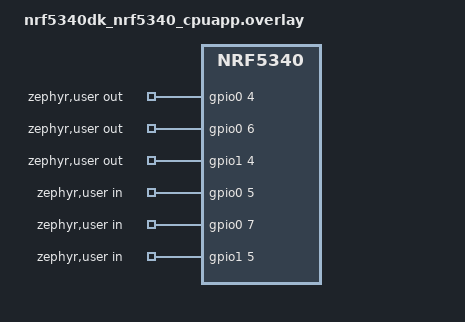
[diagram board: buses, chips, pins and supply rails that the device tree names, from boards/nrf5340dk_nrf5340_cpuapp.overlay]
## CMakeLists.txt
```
#
# Copyright (c) 2025 Nordic Semiconductor ASA
#
# SPDX-License-Identifier: LicenseRef-Nordic-5-Clause
#

cmake_minimum_required(VERSION 3.20.0)

find_package(Zephyr REQUIRED HINTS $ENV{ZEPHYR_BASE})
project(gpio_event)

target_sources(app PRIVATE src/main.c)
```

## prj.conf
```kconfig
CONFIG_GPIO=y
CONFIG_ZTEST=y
CONFIG_LOG=y
CONFIG_LOG_MODE_IMMEDIATE=y
```

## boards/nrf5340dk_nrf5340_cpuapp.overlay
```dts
/*
 * Copyright (c) 2026 Nordic Semiconductor ASA
 *
 * SPDX-License-Identifier: LicenseRef-Nordic-5-Clause
 */

/ {
	/* Test requirements:
	 * out-gpios[0] wire connected with in-gpios[0],
	 * out-gpios[1] wire connected with in-gpios[1],
	 * etc.
	 * Output-input GPIO pair must have identical active level flag.
	 */
	zephyr,user {
		out-gpios = <&gpio0 4 GPIO_ACTIVE_HIGH>, <&gpio0 6 GPIO_ACTIVE_HIGH>,
			    <&gpio1 4 GPIO_ACTIVE_HIGH>;
		in-gpios = <&gpio0 5 GPIO_ACTIVE_HIGH>, <&gpio0 7 GPIO_ACTIVE_HIGH>,
			   <&gpio1 5 GPIO_ACTIVE_HIGH>;
	};
};

&gpio0 {
	status = "okay";
};

&gpio1 {
	status = "okay";
};

&gpiote0 {
	status = "okay";
};
```

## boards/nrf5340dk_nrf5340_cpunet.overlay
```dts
/*
 * Copyright (c) 2026 Nordic Semiconductor ASA
 *
 * SPDX-License-Identifier: LicenseRef-Nordic-5-Clause
 */

/ {
	/* Test requirements:
	 * out-gpios[0] wire connected with in-gpios[0],
	 * out-gpios[1] wire connected with in-gpios[1],
	 * etc.
	 * Output-input GPIO pair must have identical active level flag.
	 */
	zephyr,user {
		out-gpios = <&gpio0 4 GPIO_ACTIVE_HIGH>, <&gpio0 6 GPIO_ACTIVE_HIGH>,
			    <&gpio1 4 GPIO_ACTIVE_HIGH>;
		in-gpios = <&gpio0 5 GPIO_ACTIVE_HIGH>, <&gpio0 7 GPIO_ACTIVE_HIGH>,
			   <&gpio1 5 GPIO_ACTIVE_HIGH>;
	};
};

&gpio0 {
	status = "okay";
};

&gpio1 {
	status = "okay";
};

&gpiote {
	status = "okay";
};
```

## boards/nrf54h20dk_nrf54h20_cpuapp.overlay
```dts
/*
 * Copyright (c) 2026 Nordic Semiconductor ASA
 *
 * SPDX-License-Identifier: LicenseRef-Nordic-5-Clause
 */

/ {
	/* Test requirements:
	 * out-gpios[0] wire connected with in-gpios[0],
	 * out-gpios[1] wire connected with in-gpios[1],
	 * etc.
	 * Output-input GPIO pair must have identical active level flag.
	 */
	zephyr,user {
		out-gpios = <&gpio0 0 GPIO_ACTIVE_HIGH>, <&gpio1 2 GPIO_ACTIVE_HIGH>,
			    <&gpio2 10 GPIO_ACTIVE_HIGH>;
		in-gpios = <&gpio0 1 GPIO_ACTIVE_HIGH>, <&gpio1 3 GPIO_ACTIVE_HIGH>,
			   <&gpio2 11 GPIO_ACTIVE_HIGH>;
	};
};

&gpio0 {
	status = "okay";
};

&gpio1 {
	status = "okay";
};

&gpio2 {
	status = "okay";
};

/* Enable interrupt from GPIO P0, P1, P2, P9 events. */
&gpiote130 {
	status = "okay";
};
```

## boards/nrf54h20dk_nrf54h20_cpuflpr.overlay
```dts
/*
 * Copyright (c) 2025 Nordic Semiconductor ASA
 *
 * SPDX-License-Identifier: LicenseRef-Nordic-5-Clause
 */

/ {
	/* Test requirements:
	 * out-gpios[0] wire connected with in-gpios[0],
	 * etc.
	 * Output-input GPIO pair must have identical active level flag.
	 */
	zephyr,user {
		out-gpios = <&gpio0 6 GPIO_ACTIVE_HIGH>;
		in-gpios = <&gpio0 7 GPIO_ACTIVE_HIGH>;
	};
};

&gpiote130 {
	status = "okay";
	interrupts = <104 NRF_DEFAULT_IRQ_PRIORITY>;
};

&gpio0 {
	status = "okay";
};

&cpuflpr_code_partition {
	reg = <0xf4000 DT_SIZE_K(64)>;
};
```

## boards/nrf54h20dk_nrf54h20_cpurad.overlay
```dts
/*
 * Copyright (c) 2026 Nordic Semiconductor ASA
 *
 * SPDX-License-Identifier: LicenseRef-Nordic-5-Clause
 */

/* Test requirements:
 * out-gpios[0] wire connected with in-gpios[0],
 * out-gpios[1] wire connected with in-gpios[1],
 * etc.
 * Output-input GPIO pair must have identical active level flag.
 *
 * Different GPIOTE channels used by loopbacks.
 * P1.04 - GPIOTE channel 0
 * P1.05 - GPIOTE channel 1
 * P1.06 - GPIOTE channel 2
 * P1.07 - GPIOTE channel 3
 * P1.08 - GPIOTE channel 4
 * P1.09 - GPIOTE channel 5
 * P1.10 - GPIOTE channel 6
 * P1.11 - GPIOTE channel 7
 * P2.00 - GPIOTE channel 0
 * P2.01 - GPIOTE channel 1
 * P2.02 - GPIOTE channel 2
 * P2.03 - GPIOTE channel 3
 * P2.04 - GPIOTE channel 4
 * P2.05 - GPIOTE channel 5
 * P2.06 - GPIOTE channel 6
 * P2.07 - GPIOTE channel 7
 * P2.08 - GPIOTE channel 0
 * P2.09 - GPIOTE channel 1
 * P2.10 - GPIOTE channel 2
 * P2.11 - GPIOTE channel 3
 */

/ {
	zephyr,user {
		out-gpios = <&gpio1 4 GPIO_ACTIVE_HIGH>, <&gpio1 6 GPIO_ACTIVE_HIGH>;
		in-gpios = <&gpio1 5 GPIO_ACTIVE_HIGH>, <&gpio2 8 GPIO_ACTIVE_HIGH>;
	};
};

/* Workaround, FUNC value is not important.
 * UICR/priphconf generator must parse pincontrol.
 * Otherwise, CTRLSEL is not set for input pin.
 */
&pinctrl {
	gpiote0_default_alt: gpiote0_default_alt {
		group1 {
			psels = <NRF_PSEL(SPIM_SCK, 1, 5)>, <NRF_PSEL(SPIM_MISO, 2, 8)>;
		};
	};
};

&gpio1 {
	status = "okay";
	gpiote-instance = <&gpiote0>;
};

&gpio2 {
	status = "okay";
	gpiote-instance = <&gpiote0>;
};

/* Enable interrupt from GPIO P1 (pins 4-11) and P2 (pins 0-11) events. */
&gpiote0 {
	status = "okay";
	pinctrl-0 = <&gpiote0_default_alt>;
	pinctrl-names = "default";
};
```

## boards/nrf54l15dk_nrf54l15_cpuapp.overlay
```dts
/*
 * Copyright (c) 2025 Nordic Semiconductor ASA
 *
 * SPDX-License-Identifier: LicenseRef-Nordic-5-Clause
 */

/ {
	/* Test requirements:
	 * out-gpios[0] wire connected with in-gpios[0],
	 * out-gpios[1] wire connected with in-gpios[1],
	 * etc.
	 * Output-input GPIO pair must have identical active level flag.
	 */
	zephyr,user {
		/* Use of P0.04 as both 'in' and 'out' is an ugly hack resulting from lack of
		 * loopback in CI test setup. This somehow works but shall not be followed.
		 */
		out-gpios = <&gpio0 4 GPIO_ACTIVE_HIGH>, <&gpio1 8 GPIO_ACTIVE_HIGH>;
		in-gpios = <&gpio0 4 GPIO_ACTIVE_HIGH>, <&gpio1 9 GPIO_ACTIVE_HIGH>;
	};
};

&gpio0 {
	status = "okay";
};

&gpio1 {
	status = "okay";
};

/* Enable interrupt from GPIO P1 events. */
&gpiote20 {
	status = "okay";
};

/* Enable interrupt from GPIO P0 events. */
&gpiote30 {
	status = "okay";
};

/* No support for port events on GPIO P2. */
```

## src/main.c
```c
/*
 * Copyright (c) 2025 Nordic Semiconductor ASA
 *
 * SPDX-License-Identifier: LicenseRef-Nordic-5-Clause
 */

#include <zephyr/logging/log.h>
LOG_MODULE_REGISTER(gpio_event, LOG_LEVEL_INF);

#include <zephyr/kernel.h>
#include <zephyr/drivers/gpio.h>
#include <zephyr/ztest.h>

#if !DT_NODE_HAS_PROP(DT_PATH(zephyr_user), out_gpios)
#error "Unsupported board: out_gpios are not defined"
#endif

#if !DT_NODE_HAS_PROP(DT_PATH(zephyr_user), in_gpios)
#error "Unsupported board: in_gpios are not defined"
#endif

const struct gpio_dt_spec out_pins[] = {
	DT_FOREACH_PROP_ELEM_SEP(DT_PATH(zephyr_user), out_gpios, GPIO_DT_SPEC_GET_BY_IDX, (,))
};
BUILD_ASSERT(ARRAY_SIZE(out_pins) > 0, "missing out pins");
const uint8_t npins = ARRAY_SIZE(out_pins);

const struct gpio_dt_spec in_pins[] = {
	DT_FOREACH_PROP_ELEM_SEP(DT_PATH(zephyr_user), in_gpios, GPIO_DT_SPEC_GET_BY_IDX, (,))
};
BUILD_ASSERT(ARRAY_SIZE(in_pins) == ARRAY_SIZE(out_pins), "different number of in and out pins");

static struct k_sem gpio_event;
static struct gpio_callback cb_data;

/* ISR for Port event. */
static void gpio_isr(const struct device *dev, struct gpio_callback *cb, uint32_t pins)
{
	uint8_t i;

	for (i = 0; i < npins; i++) {
		if (pins & BIT(in_pins[i].pin)) {
			TC_PRINT("Event at %s, pin %d\n", dev->name, in_pins[i].pin);
			k_sem_give(&gpio_event);
		}
	}
}

static bool generic_edge_test(int initial_value)
{
	uint8_t i;
	int rc;
	int opposite_value;
	bool test_failed = false;

	for (i = 0; i < npins; i++) {
		TC_PRINT("[%d]: Port %s, pin %d\n",
			i, out_pins[i].port->name, out_pins[i].pin);
		/* Reset semaphore */
		k_sem_reset(&gpio_event);

		/* Set OUT to physical 'initial_value'
		 * Writing value 0 to the pin will set it to a low physical level.
		 * Writing any value other than 0 will set it to a high physical level.
		 */
		rc = gpio_pin_set_raw(out_pins[i].port, out_pins[i].pin, initial_value);
		zexpect_equal(rc, 0, "[%d]: Port %s, pin %d, set %d failed",
			i, out_pins[i].port->name, out_pins[i].pin, initial_value);

		/* Configure IN event (edge) */
		switch (initial_value) {
		case 0:
			rc = gpio_pin_interrupt_configure_dt(&in_pins[i],
				GPIO_INT_EDGE_RISING);
			break;
		case 1:
			rc = gpio_pin_interrupt_configure_dt(&in_pins[i],
				GPIO_INT_EDGE_FALLING);
			break;
		case 2:
			rc = gpio_pin_interrupt_configure_dt(&in_pins[i],
				GPIO_INT_EDGE_BOTH);
			break;
		default:
			zassert_true(false,
				"Unexpected value of %u", initial_value);
		}
		zexpect_equal(rc, 0, "[%d]: failed to configure interrupt (err %d)", i, rc);

		gpio_init_callback(&cb_data, gpio_isr, BIT(in_pins[i].pin));
		rc = gpio_add_callback(in_pins[i].port, &cb_data);
		zexpect_equal(rc, 0, "[%d]: failed to add calback (err %d)", i, rc);

		/* Change OUT to physical opposite state */
		if (initial_value == 0) {
			opposite_value = 1;
		} else {
			opposite_value = 0;
		}
		rc = gpio_pin_set_raw(out_pins[i].port, out_pins[i].pin, opposite_value);
		zexpect_equal(rc, 0, "[%d]: Port %s, pin %d, set %d failed",
			i, out_pins[i].port->name, out_pins[i].pin, opposite_value);

		/* Check that IN event was detected */
		rc = k_sem_take(&gpio_event, Z_TIMEOUT_MS(200));
		if (rc < 0) {
			test_failed = true;
			TC_PRINT("[%d]: No event from Port %s pin %d\n",
				i, in_pins[i].port->name, in_pins[i].pin);
		}

		/* Remove callback */
		gpio_remove_callback(in_pins[i].port, &cb_data);
	}

	return test_failed;
}

/**
 * @brief Test if event from rising edge is detected on GPIOs.
 */
ZTEST(gpio_event, test_rising_edge)
{
	bool test_failed = false;
	const int initial_gpio_state = 0;

	test_failed = generic_edge_test(initial_gpio_state);
	zexpect_equal(test_failed, false, "At least one event is missing");
}

/**
 * @brief Test if event from falling edge is detected on GPIOs.
 */
ZTEST(gpio_event, test_falling_edge)
{
	bool test_failed = false;
	const int initial_gpio_state = 1;

	test_failed = generic_edge_test(initial_gpio_state);
	zexpect_equal(test_failed, false, "At least one event is missing");
}

/**
 * @brief Test if event from any change is detected on GPIOs.
 */
ZTEST(gpio_event, test_any_edge)
{
	bool test_failed = false;
	const int initial_gpio_state = 2;

	test_failed = generic_edge_test(initial_gpio_state);
	zexpect_equal(test_failed, false, "At least one event is missing");
}

static void *suite_setup(void)
{
	uint8_t i;
	int rc;

	TC_PRINT("Test executed on %s\n", CONFIG_BOARD_TARGET);
	TC_PRINT("Number of GPIO loopbacks: %d\n", npins);
	for (i = 0; i < npins; i++) {
		TC_PRINT("%d: Port %s pin %d (OUT) drives port %s pin %d (IN)\n",
			i, out_pins[i].port->name, out_pins[i].pin,
			in_pins[i].port->name, in_pins[i].pin);
	}
	TC_PRINT("===================================================================\n");

	k_sem_init(&gpio_event, 0, 1);

	for (i = 0; i < npins; i++) {
		zassert_true(gpio_is_ready_dt(&out_pins[i]), "OUT[%d] is not ready", i);
		zassert_true(gpio_is_ready_dt(&in_pins[i]), "IN[%d] is not ready", i);

		/* Configure IN GPIOs */
		rc = gpio_pin_configure_dt(&in_pins[i], GPIO_INPUT);
		zexpect_equal(rc, 0, "IN[%d] config failed (%d)", i, rc);

		/* Configure OUT GPIOs */
		rc = gpio_pin_configure_dt(&out_pins[i], GPIO_OUTPUT);
		zexpect_equal(rc, 0, "OUT[%d] config failed (%d)", i, rc);
	}

	return NULL;
}

ZTEST_SUITE(gpio_event, NULL, suite_setup, NULL, NULL, NULL);
```
